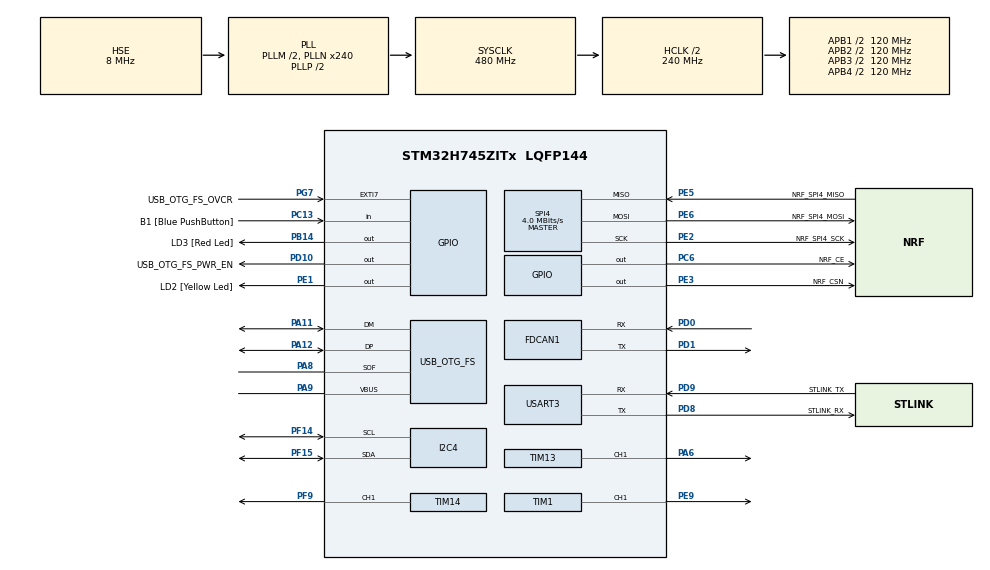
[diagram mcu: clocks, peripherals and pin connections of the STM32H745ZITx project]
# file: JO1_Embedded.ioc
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CortexM4.IPs=FATFS_M4\:I,FREERTOS_M4\:I,IWDG2\:I,RCC,WWDG2\:I,DMA,BDMA,MDMA,NVIC2\:I,USART3,DEBUG,USB_DEVICE_M4\:I,USB_HOST_M4\:I,PDM2PCM_M4\:I,PWR,RESMGR_UTILITY,SYS_M4\:I,CORTEX_M4\:I,OPENAMP_M4\:I,VREFBUF,GPIO,TIM3\:I
CortexM7.IPs=FATFS_M7\:I,FREERTOS_M7\:I,IWDG1\:I,RCC\:I,WWDG1\:I,DMA\:I,BDMA\:I,MDMA\:I,NVIC1\:I,SYS\:I,USART3\:I,USB_OTG_FS\:I,CORTEX_M7\:I,DEBUG\:I,USB_DEVICE_M7\:I,USB_HOST_M7\:I,PDM2PCM_M7\:I,PWR\:I,RESMGR_UTILITY\:I,OPENAMP_M7\:I,VREFBUF\:I,GPIO\:I,SPI4\:I,I2C4\:I,TIM13\:I,TIM14\:I,TIM1\:I,TIM2\:I,FDCAN1\:I
CortexM7.Pins=PE3,PC6
FDCAN1.CalculateBaudRateNominal=500000
FDCAN1.CalculateTimeBitNominal=2000
FDCAN1.CalculateTimeQuantumNominal=50.0
FDCAN1.NominalPrescaler=2
FDCAN1.NominalSyncJumpWidth=8
FDCAN1.NominalTimeSeg1=0x1F
FDCAN1.NominalTimeSeg2=8
FDCAN1.ProtocolException=ENABLE
FDCAN1.RxFifo0ElmtsNbr=1
FDCAN1.StdFiltersNbr=1
FDCAN1.TxFifoQueueElmtsNbr=1
FREERTOS_M4.Tasks01=defaultTask,24,128,StartDefaultTask,Default,NULL,Dynamic,NULL,NULL
FREERTOS_M4.configUSE_NEWLIB_REENTRANT=1
FREERTOS_M7.Tasks01=defaultTask,24,128,StartDefaultTask,Default,NULL,Dynamic,NULL,NULL
FREERTOS_M7.configUSE_NEWLIB_REENTRANT=1
I2C4.Timing=0x307075B1
Mcu.Family=STM32H7
Mcu.Name=STM32H745ZITx
Mcu.Package=LQFP144
NVIC1.PriorityGroup=NVIC_PRIORITYGROUP_4
NVIC1.TIM2_IRQn=true\:15\:0\:false\:false\:true\:false\:false\:true\:true
NVIC1.TimeBase=TIM2_IRQn
NVIC1.TimeBaseIP=TIM2
NVIC2.PriorityGroup=NVIC_PRIORITYGROUP_4
NVIC2.TIM3_IRQn=true\:15\:0\:false\:false\:true\:false\:false\:true\:true
NVIC2.TimeBase=TIM3_IRQn
NVIC2.TimeBaseIP=TIM3
PA11.Mode=Device_Only
PA11.PinAttribute=CortexM7
PA11.Signal=USB_OTG_FS_DM
PA12.Mode=Device_Only
PA12.PinAttribute=CortexM7
PA12.Signal=USB_OTG_FS_DP
PA6.PinAttribute=CortexM7
PA6.Signal=S_TIM13_CH1
PA8.Mode=Activate_SOF_FS
PA8.PinAttribute=CortexM7
PA8.Signal=USB_OTG_FS_SOF
PA9.Mode=Activate_VBUS
PA9.PinAttribute=CortexM7
PA9.Signal=USB_OTG_FS_VBUS
PB14.GPIO_Label=LD3 [Red Led]
PB14.PinAttribute=Free
PB14.Signal=GPIO_Output
PC13.GPIO_Label=B1 [Blue PushButton]
PC13.PinAttribute=Free
PC13.Signal=GPIO_Input
PC14-OSC32_IN\ (OSC32_IN).Mode=LSE-External-Oscillator
PC14-OSC32_IN\ (OSC32_IN).PinAttribute=CortexM7
PC14-OSC32_IN\ (OSC32_IN).Signal=RCC_OSC32_IN
PC15-OSC32_OUT\ (OSC32_OUT).Mode=LSE-External-Oscillator
PC15-OSC32_OUT\ (OSC32_OUT).PinAttribute=CortexM7
PC15-OSC32_OUT\ (OSC32_OUT).Signal=RCC_OSC32_OUT
PC6.GPIO_Label=NRF_CE
PC6.PinAttribute=CortexM7
PC6.Signal=GPIO_Output
PD0.GPIO_Speed=GPIO_SPEED_FREQ_VERY_HIGH
PD0.Mode=FDCAN_Activate
PD0.PinAttribute=CortexM7
PD0.Signal=FDCAN1_RX
PD1.GPIO_PuPd=GPIO_PULLUP
PD1.GPIO_Speed=GPIO_SPEED_FREQ_VERY_HIGH
PD1.Mode=FDCAN_Activate
PD1.PinAttribute=CortexM7
PD1.Signal=FDCAN1_TX
PD10.GPIO_Label=USB_OTG_FS_PWR_EN
PD10.PinAttribute=Free
PD10.Signal=GPIO_Output
PD8.GPIO_Label=STLINK_RX
PD8.Mode=Asynchronous
PD8.PinAttribute=CortexM7
PD8.Signal=USART3_TX
PD9.GPIO_Label=STLINK_TX
PD9.Mode=Asynchronous
PD9.PinAttribute=CortexM7
PD9.Signal=USART3_RX
PE1.GPIO_Label=LD2 [Yellow Led]
PE1.PinAttribute=Free
PE1.Signal=GPIO_Output
PE2.GPIO_Label=NRF_SPI4_SCK
PE2.Mode=Full_Duplex_Master
PE2.PinAttribute=CortexM7
PE2.Signal=SPI4_SCK
PE3.GPIO_Label=NRF_CSN
PE3.PinAttribute=CortexM7
PE3.Signal=GPIO_Output
PE5.GPIO_Label=NRF_SPI4_MISO
PE5.Mode=Full_Duplex_Master
PE5.PinAttribute=CortexM7
PE5.Signal=SPI4_MISO
PE6.GPIO_Label=NRF_SPI4_MOSI
PE6.Mode=Full_Duplex_Master
PE6.PinAttribute=CortexM7
PE6.Signal=SPI4_MOSI
PE9.PinAttribute=CortexM7
PE9.Signal=S_TIM1_CH1
PF14.Mode=I2C
PF14.PinAttribute=CortexM7
PF14.Signal=I2C4_SCL
PF15.Mode=I2C
PF15.PinAttribute=CortexM7
PF15.Signal=I2C4_SDA
PF9.PinAttribute=CortexM7
PF9.Signal=S_TIM14_CH1
PG7.GPIO_Label=USB_OTG_FS_OVCR
PG7.PinAttribute=Free
PG7.Signal=GPXTI7
PH0-OSC_IN\ (PH0).Mode=HSE-External-Clock-Source
PH0-OSC_IN\ (PH0).PinAttribute=CortexM7
PH0-OSC_IN\ (PH0).Signal=RCC_OSC_IN
PH1-OSC_OUT\ (PH1).PinAttribute=CortexM7
PH1-OSC_OUT\ (PH1).Signal=RCC_OSC_OUT
ProjectManager.HeapSize=M4-0x200,M7-0x200
ProjectManager.StackSize=M4-0x400,M7-0x400
ProjectManager.TargetToolchain=STM32CubeIDE
RCC.ADCFreq_Value=9000000
RCC.APB1Freq_Value=120000000
RCC.APB2Freq_Value=120000000
RCC.APB3Freq_Value=120000000
RCC.APB4Freq_Value=120000000
RCC.CortexFreq_Value=480000000
RCC.D1PPRE=RCC_APB3_DIV2
RCC.D2PPRE1=RCC_APB1_DIV2
RCC.D2PPRE2=RCC_APB2_DIV2
RCC.D3PPRE=RCC_APB4_DIV2
RCC.DIVM1=2
RCC.DIVM2=4
RCC.DIVN1=240
RCC.DIVN2=9
RCC.DIVQ1=24
RCC.HCLKFreq_Value=240000000
RCC.HPRE=RCC_HCLK_DIV2
RCC.HSE_VALUE=8000000
RCC.PLL2FRACN=0
RCC.PLL3FRACN=0
RCC.PLLFRACN=0
RCC.SYSCLKFreq_VALUE=480000000
RCC.SYSCLKSource=RCC_SYSCLKSOURCE_PLLCLK
RCC.Spi45ClockSelection=RCC_SPI45CLKSOURCE_HSI
RCC.SupplySource=PWR_DIRECT_SMPS_SUPPLY
RCC.USBFreq_Value=40000000
SH.S_TIM13_CH1.0=TIM13_CH1,PWM Generation1 CH1
SH.S_TIM14_CH1.0=TIM14_CH1,PWM Generation1 CH1
SH.S_TIM1_CH1.0=TIM1_CH1,PWM Generation1 CH1
SPI4.BaudRatePrescaler=SPI_BAUDRATEPRESCALER_16
SPI4.CalculateBaudRate=4.0 MBits/s
SPI4.DataSize=SPI_DATASIZE_8BIT
SPI4.Direction=SPI_DIRECTION_2LINES
SPI4.Mode=SPI_MODE_MASTER
SPI4.VirtualType=VM_MASTER
TIM1.Channel-PWM\ Generation1\ CH1=TIM_CHANNEL_1
TIM1.Period=1000
TIM1.Pulse-PWM\ Generation1\ CH1=500
TIM13.Channel=TIM_CHANNEL_1
TIM13.Period=63999
TIM13.Prescaler=75
TIM14.Channel=TIM_CHANNEL_1
TIM14.Period=63999
TIM14.Prescaler=75
USART3.VirtualMode-Asynchronous=VM_ASYNC
USB_OTG_FS.VirtualMode=Device_Only
VP_FREERTOS_M4_VS_CMSIS_V2.Mode=CMSIS_V2
VP_FREERTOS_M7_VS_CMSIS_V2.Mode=CMSIS_V2
VP_SYS_M4_VS_tim3.Mode=TIM3
VP_SYS_VS_tim2.Mode=TIM2
VP_TIM13_VS_ClockSourceINT.Mode=Enable_Timer
VP_TIM14_VS_ClockSourceINT.Mode=Enable_Timer
VP_TIM1_VS_ClockSourceINT.Mode=Internal
board=NUCLEO-H745ZI-Q

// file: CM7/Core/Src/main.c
/* USER CODE BEGIN Header */
/**
  ******************************************************************************
  * @file           : main.c
  * @brief          : Main program body
  ******************************************************************************
  * @attention
  *
  * Copyright (c) 2024 STMicroelectronics.
  * All rights reserved.
  *
  * This software is licensed under terms that can be found in the LICENSE file
  * in the root directory of this software component.
  * If no LICENSE file comes with this software, it is provided AS-IS.
  *
  ******************************************************************************
  */
/* USER CODE END Header */
#include "main.h"
#include "cmsis_os.h"

/* USER CODE BEGIN Includes */

// Wireless communication with John Deere GPS

#include "nRF24.h"

// IMU sensor for angle calculation

#include "imu_mpu6050.h"
#include "gyro_orientation.h"

// CAN for reading encoder from extern MCU

#include "can_routines.h"

// Encoder reading for distance calculation

#include "encoder_driver.h"

// MATLAB Controller

#include "controller/robocar_c.h"

// Tractor steering and movement

#include "servo_driver.h"
#include "motor_driver.h"

// Buzzer for waypoint alert

#include "buzzer_sound.h"

// USART interface

#include "uart_printf.h"

/* USER CODE END Includes */

/* USER CODE BEGIN PTD */

typedef struct {
	uint16_t x;
	uint16_t y;
} waypoint_t;

/* USER CODE END PTD */

/* USER CODE BEGIN PD */

#define SPEED_INCREASE_RATE	10

/* Internal Navigation Mode */

#define LINEAR_VELOCITY		7.0f
#define LOOKAHEAD_DISTANCE	1.0f
#define INPUT_MIN			-1.0f
#define INPUT_MAX			1.0f
#define OUTPUT_MIN			-90.0f
#define OUTPUT_MAX			90.0f

/* External Navigation Mode */

#define DISTANCE_TOLERANCE	10.0f
#define DELAY_FACTOR 		100.0f
#define SPEED				0.5f
#define STOP_TIME			3000

#ifndef HSEM_ID_0
#define HSEM_ID_0 (0U) /* HW semaphore 0*/
#endif

/* USER CODE END PD */

FDCAN_HandleTypeDef hfdcan1;

I2C_HandleTypeDef hi2c4;

SPI_HandleTypeDef hspi4;

TIM_HandleTypeDef htim1;
TIM_HandleTypeDef htim13;
TIM_HandleTypeDef htim14;

UART_HandleTypeDef huart3;

PCD_HandleTypeDef hpcd_USB_OTG_FS;

/* Definitions for defaultTask */
osThreadId_t defaultTaskHandle;
const osThreadAttr_t defaultTask_attributes = {
  .name = "defaultTask",
  .stack_size = 128 * 4,
  .priority = (osPriority_t) osPriorityNormal,
};
/* USER CODE BEGIN PV */

/* Internal Navigation Mode */

imu_data_t imu_data;
gyro_orient_state_t orient_state;
float yaw;

FDCAN_FilterTypeDef sFilterConfig;
FDCAN_RxHeaderTypeDef rx_header;

can_status_t status;
uint16_t encoder_value;
float encoder_distance;

real_T state[3];
float mapped_angle;

/* External Navigation Mode */

vehicle_coordinates_t coordinates;
waypoint_t destination = {0, 60};
float distance;
uint32_t delay_time;

/* USER CODE END PV */

void SystemClock_Config(void);
static void MX_GPIO_Init(void);
static void MX_USART3_UART_Init(void);
static void MX_USB_OTG_FS_PCD_Init(void);
static void MX_SPI4_Init(void);
static void MX_I2C4_Init(void);
static void MX_TIM13_Init(void);
static void MX_TIM14_Init(void);
static void MX_TIM1_Init(void);
static void MX_FDCAN1_Init(void);
void StartDefaultTask(void *argument);

int main(void)
{
/* USER CODE BEGIN Boot_Mode_Sequence_0 */
  int32_t timeout;
/* USER CODE END Boot_Mode_Sequence_0 */

/* USER CODE BEGIN Boot_Mode_Sequence_1 */
  /* Wait until CPU2 boots and enters in stop mode or timeout*/
  timeout = 0xFFFF;
  while((__HAL_RCC_GET_FLAG(RCC_FLAG_D2CKRDY) != RESET) && (timeout-- > 0));
  if ( timeout < 0 )
  {
  Error_Handler();
  }
/* USER CODE END Boot_Mode_Sequence_1 */
  /* MCU Configuration--------------------------------------------------------*/

  /* Reset of all peripherals, Initializes the Flash interface and the Systick. */
  HAL_Init();

  /* Configure the system clock */
  SystemClock_Config();
/* USER CODE BEGIN Boot_Mode_Sequence_2 */
/* When system initialization is finished, Cortex-M7 will release Cortex-M4 by means of
HSEM notification */
/*HW semaphore Clock enable*/
__HAL_RCC_HSEM_CLK_ENABLE();
/*Take HSEM */
HAL_HSEM_FastTake(HSEM_ID_0);
/*Release HSEM in order to notify the CPU2(CM4)*/
HAL_HSEM_Release(HSEM_ID_0,0);
/* wait until CPU2 wakes up from stop mode */
timeout = 0xFFFF;
while((__HAL_RCC_GET_FLAG(RCC_FLAG_D2CKRDY) == RESET) && (timeout-- > 0));
if ( timeout < 0 )
{
Error_Handler();
}
/* USER CODE END Boot_Mode_Sequence_2 */

  /* Initialize all configured peripherals */
  MX_GPIO_Init();
  MX_USART3_UART_Init();
  MX_USB_OTG_FS_PCD_Init();
  MX_SPI4_Init();
  MX_I2C4_Init();
  MX_TIM13_Init();
  MX_TIM14_Init();
  MX_TIM1_Init();
  MX_FDCAN1_Init();

  /* Init scheduler */
  osKernelInitialize();

  /* Create the thread(s) */
  /* creation of defaultTask */
  defaultTaskHandle = osThreadNew(StartDefaultTask, NULL, &defaultTask_attributes);

  /* Start scheduler */
  osKernelStart();

  /* We should never get here as control is now taken by the scheduler */
  /* Infinite loop */
  while (1)
  {

  }
}

void SystemClock_Config(void)
{
  RCC_OscInitTypeDef RCC_OscInitStruct = {0};
  RCC_ClkInitTypeDef RCC_ClkInitStruct = {0};

  /** Supply configuration update enable
  */
  HAL_PWREx_ConfigSupply(PWR_DIRECT_SMPS_SUPPLY);

  /** Configure the main internal regulator output voltage
  */
  __HAL_PWR_VOLTAGESCALING_CONFIG(PWR_REGULATOR_VOLTAGE_SCALE0);

  while(!__HAL_PWR_GET_FLAG(PWR_FLAG_VOSRDY)) {}

  /** Initializes the RCC Oscillators according to the specified parameters
  * in the RCC_OscInitTypeDef structure.
  */
  RCC_OscInitStruct.OscillatorType = RCC_OSCILLATORTYPE_HSI|RCC_OSCILLATORTYPE_HSE;
  RCC_OscInitStruct.HSEState = RCC_HSE_BYPASS;
  RCC_OscInitStruct.HSIState = RCC_HSI_DIV1;
  RCC_OscInitStruct.HSICalibrationValue = RCC_HSICALIBRATION_DEFAULT;
  RCC_OscInitStruct.PLL.PLLState = RCC_PLL_ON;
  RCC_OscInitStruct.PLL.PLLSource = RCC_PLLSOURCE_HSE;
  RCC_OscInitStruct.PLL.PLLM = 2;
  RCC_OscInitStruct.PLL.PLLN = 240;
  RCC_OscInitStruct.PLL.PLLP = 2;
  RCC_OscInitStruct.PLL.PLLQ = 24;
  RCC_OscInitStruct.PLL.PLLR = 2;
  RCC_OscInitStruct.PLL.PLLRGE = RCC_PLL1VCIRANGE_2;
  RCC_OscInitStruct.PLL.PLLVCOSEL = RCC_PLL1VCOWIDE;
  RCC_OscInitStruct.PLL.PLLFRACN = 0;
  if (HAL_RCC_OscConfig(&RCC_OscInitStruct) != HAL_OK)
  {
    Error_Handler();
  }

  /** Initializes the CPU, AHB and APB buses clocks
  */
  RCC_ClkInitStruct.ClockType = RCC_CLOCKTYPE_HCLK|RCC_CLOCKTYPE_SYSCLK
                              |RCC_CLOCKTYPE_PCLK1|RCC_CLOCKTYPE_PCLK2
                              |RCC_CLOCKTYPE_D3PCLK1|RCC_CLOCKTYPE_D1PCLK1;
  RCC_ClkInitStruct.SYSCLKSource = RCC_SYSCLKSOURCE_PLLCLK;
  RCC_ClkInitStruct.SYSCLKDivider = RCC_SYSCLK_DIV1;
  RCC_ClkInitStruct.AHBCLKDivider = RCC_HCLK_DIV2;
  RCC_ClkInitStruct.APB3CLKDivider = RCC_APB3_DIV2;
  RCC_ClkInitStruct.APB1CLKDivider = RCC_APB1_DIV2;
  RCC_ClkInitStruct.APB2CLKDivider = RCC_APB2_DIV2;
  RCC_ClkInitStruct.APB4CLKDivider = RCC_APB4_DIV2;

  if (HAL_RCC_ClockConfig(&RCC_ClkInitStruct, FLASH_LATENCY_4) != HAL_OK)
  {
    Error_Handler();
  }
}

static void MX_FDCAN1_Init(void)
{

  hfdcan1.Instance = FDCAN1;
  hfdcan1.Init.FrameFormat = FDCAN_FRAME_CLASSIC;
  hfdcan1.Init.Mode = FDCAN_MODE_NORMAL;
  hfdcan1.Init.AutoRetransmission = DISABLE;
  hfdcan1.Init.TransmitPause = DISABLE;
  hfdcan1.Init.ProtocolException = ENABLE;
  hfdcan1.Init.NominalPrescaler = 2;
  hfdcan1.Init.NominalSyncJumpWidth = 8;
  hfdcan1.Init.NominalTimeSeg1 = 0x1F;
  hfdcan1.Init.NominalTimeSeg2 = 8;
  hfdcan1.Init.DataPrescaler = 1;
  hfdcan1.Init.DataSyncJumpWidth = 1;
  hfdcan1.Init.DataTimeSeg1 = 1;
  hfdcan1.Init.DataTimeSeg2 = 1;
  hfdcan1.Init.MessageRAMOffset = 0;
  hfdcan1.Init.StdFiltersNbr = 1;
  hfdcan1.Init.ExtFiltersNbr = 0;
  hfdcan1.Init.RxFifo0ElmtsNbr = 1;
  hfdcan1.Init.RxFifo0ElmtSize = FDCAN_DATA_BYTES_8;
  hfdcan1.Init.RxFifo1ElmtsNbr = 0;
  hfdcan1.Init.RxFifo1ElmtSize = FDCAN_DATA_BYTES_8;
  hfdcan1.Init.RxBuffersNbr = 0;
  hfdcan1.Init.RxBufferSize = FDCAN_DATA_BYTES_8;
  hfdcan1.Init.TxEventsNbr = 0;
  hfdcan1.Init.TxBuffersNbr = 0;
  hfdcan1.Init.TxFifoQueueElmtsNbr = 1;
  hfdcan1.Init.TxFifoQueueMode = FDCAN_TX_FIFO_OPERATION;
  hfdcan1.Init.TxElmtSize = FDCAN_DATA_BYTES_8;
  if (HAL_FDCAN_Init(&hfdcan1) != HAL_OK)
  {
    Error_Handler();
  }
  /* USER CODE BEGIN FDCAN1_Init 2 */

  // Configure Rx filter

  sFilterConfig.IdType = FDCAN_STANDARD_ID;
  sFilterConfig.FilterIndex = 0;
  sFilterConfig.FilterType = FDCAN_FILTER_MASK;
  sFilterConfig.FilterConfig = FDCAN_FILTER_TO_RXFIFO0;
  sFilterConfig.FilterID1 = 0x000;
  sFilterConfig.FilterID2 = 0x000;

  // Configure global filter to reject all non-matching frames

  HAL_FDCAN_ConfigGlobalFilter(&hfdcan1, FDCAN_REJECT, FDCAN_REJECT, FDCAN_REJECT_REMOTE, FDCAN_REJECT_REMOTE);

  if (HAL_FDCAN_ConfigFilter(&hfdcan1, &sFilterConfig) != HAL_OK)
  {
	  Error_Handler();
  }

  // Start the FDCAN

  if (HAL_FDCAN_Start(&hfdcan1) != HAL_OK) {}

  if (HAL_FDCAN_ActivateNotification(&hfdcan1, FDCAN_IT_RX_FIFO0_NEW_MESSAGE, 0) != HAL_OK) {}

  printf("CAN BUS ACTIVATED\r\n");

  /* USER CODE END FDCAN1_Init 2 */

}

static void MX_I2C4_Init(void)
{

  hi2c4.Instance = I2C4;
  hi2c4.Init.Timing = 0x307075B1;
  hi2c4.Init.OwnAddress1 = 0;
  hi2c4.Init.AddressingMode = I2C_ADDRESSINGMODE_7BIT;
  hi2c4.Init.DualAddressMode = I2C_DUALADDRESS_DISABLE;
  hi2c4.Init.OwnAddress2 = 0;
  hi2c4.Init.OwnAddress2Masks = I2C_OA2_NOMASK;
  hi2c4.Init.GeneralCallMode = I2C_GENERALCALL_DISABLE;
  hi2c4.Init.NoStretchMode = I2C_NOSTRETCH_DISABLE;
  if (HAL_I2C_Init(&hi2c4) != HAL_OK)
  {
    Error_Handler();
  }

  /** Configure Analogue filter
  */
  if (HAL_I2CEx_ConfigAnalogFilter(&hi2c4, I2C_ANALOGFILTER_ENABLE) != HAL_OK)
  {
    Error_Handler();
  }

  /** Configure Digital filter
  */
  if (HAL_I2CEx_ConfigDigitalFilter(&hi2c4, 0) != HAL_OK)
  {
    Error_Handler();
  }

}

static void MX_SPI4_Init(void)
{

  /* SPI4 parameter configuration*/
  hspi4.Instance = SPI4;
  hspi4.Init.Mode = SPI_MODE_MASTER;
  hspi4.Init.Direction = SPI_DIRECTION_2LINES;
  hspi4.Init.DataSize = SPI_DATASIZE_8BIT;
  hspi4.Init.CLKPolarity = SPI_POLARITY_LOW;
  hspi4.Init.CLKPhase = SPI_PHASE_1EDGE;
  hspi4.Init.NSS = SPI_NSS_SOFT;
  hspi4.Init.BaudRatePrescaler = SPI_BAUDRATEPRESCALER_16;
  hspi4.Init.FirstBit = SPI_FIRSTBIT_MSB;
  hspi4.Init.TIMode = SPI_TIMODE_DISABLE;
  hspi4.Init.CRCCalculation = SPI_CRCCALCULATION_DISABLE;
  hspi4.Init.CRCPolynomial = 0x0;
  hspi4.Init.NSSPMode = SPI_NSS_PULSE_ENABLE;
  hspi4.Init.NSSPolarity = SPI_NSS_POLARITY_LOW;
  hspi4.Init.FifoThreshold = SPI_FIFO_THRESHOLD_01DATA;
  hspi4.Init.TxCRCInitializationPattern = SPI_CRC_INITIALIZATION_ALL_ZERO_PATTERN;
  hspi4.Init.RxCRCInitializationPattern = SPI_CRC_INITIALIZATION_ALL_ZERO_PATTERN;
  hspi4.Init.MasterSSIdleness = SPI_MASTER_SS_IDLENESS_00CYCLE;
  hspi4.Init.MasterInterDataIdleness = SPI_MASTER_INTERDATA_IDLENESS_00CYCLE;
  hspi4.Init.MasterReceiverAutoSusp = SPI_MASTER_RX_AUTOSUSP_DISABLE;
  hspi4.Init.MasterKeepIOState = SPI_MASTER_KEEP_IO_STATE_DISABLE;
  hspi4.Init.IOSwap = SPI_IO_SWAP_DISABLE;
  if (HAL_SPI_Init(&hspi4) != HAL_OK)
  {
    Error_Handler();
  }

}

static void MX_TIM1_Init(void)
{

  TIM_ClockConfigTypeDef sClockSourceConfig = {0};
  TIM_MasterConfigTypeDef sMasterConfig = {0};
  TIM_OC_InitTypeDef sConfigOC = {0};
  TIM_BreakDeadTimeConfigTypeDef sBreakDeadTimeConfig = {0};

  htim1.Instance = TIM1;
  htim1.Init.Prescaler = 0;
  htim1.Init.CounterMode = TIM_COUNTERMODE_UP;
  htim1.Init.Period = 1000;
  htim1.Init.ClockDivision = TIM_CLOCKDIVISION_DIV1;
  htim1.Init.RepetitionCounter = 0;
  htim1.Init.AutoReloadPreload = TIM_AUTORELOAD_PRELOAD_DISABLE;
  if (HAL_TIM_Base_Init(&htim1) != HAL_OK)
  {
    Error_Handler();
  }
  sClockSourceConfig.ClockSource = TIM_CLOCKSOURCE_INTERNAL;
  if (HAL_TIM_ConfigClockSource(&htim1, &sClockSourceConfig) != HAL_OK)
  {
    Error_Handler();
  }
  if (HAL_TIM_PWM_Init(&htim1) != HAL_OK)
  {
    Error_Handler();
  }
  sMasterConfig.MasterOutputTrigger = TIM_TRGO_RESET;
  sMasterConfig.MasterOutputTrigger2 = TIM_TRGO2_RESET;
  sMasterConfig.MasterSlaveMode = TIM_MASTERSLAVEMODE_DISABLE;
  if (HAL_TIMEx_MasterConfigSynchronization(&htim1, &sMasterConfig) != HAL_OK)
  {
    Error_Handler();
  }
  sConfigOC.OCMode = TIM_OCMODE_PWM1;
  sConfigOC.Pulse = 500;
  sConfigOC.OCPolarity = TIM_OCPOLARITY_HIGH;
  sConfigOC.OCNPolarity = TIM_OCNPOLARITY_HIGH;
  sConfigOC.OCFastMode = TIM_OCFAST_DISABLE;
  sConfigOC.OCIdleState = TIM_OCIDLESTATE_RESET;
  sConfigOC.OCNIdleState = TIM_OCNIDLESTATE_RESET;
  if (HAL_TIM_PWM_ConfigChannel(&htim1, &sConfigOC, TIM_CHANNEL_1) != HAL_OK)
  {
    Error_Handler();
  }
  sBreakDeadTimeConfig.OffStateRunMode = TIM_OSSR_DISABLE;
  sBreakDeadTimeConfig.OffStateIDLEMode = TIM_OSSI_DISABLE;
  sBreakDeadTimeConfig.LockLevel = TIM_LOCKLEVEL_OFF;
  sBreakDeadTimeConfig.DeadTime = 0;
  sBreakDeadTimeConfig.BreakState = TIM_BREAK_DISABLE;
  sBreakDeadTimeConfig.BreakPolarity = TIM_BREAKPOLARITY_HIGH;
  sBreakDeadTimeConfig.BreakFilter = 0;
  sBreakDeadTimeConfig.Break2State = TIM_BREAK2_DISABLE;
  sBreakDeadTimeConfig.Break2Polarity = TIM_BREAK2POLARITY_HIGH;
  sBreakDeadTimeConfig.Break2Filter = 0;
  sBreakDeadTimeConfig.AutomaticOutput = TIM_AUTOMATICOUTPUT_DISABLE;
  if (HAL_TIMEx_ConfigBreakDeadTime(&htim1, &sBreakDeadTimeConfig) != HAL_OK)
  {
    Error_Handler();
  }
  HAL_TIM_MspPostInit(&htim1);

}

static void MX_TIM13_Init(void)
{

  TIM_OC_InitTypeDef sConfigOC = {0};

  htim13.Instance = TIM13;
  htim13.Init.Prescaler = 75;
  htim13.Init.CounterMode = TIM_COUNTERMODE_UP;
  htim13.Init.Period = 63999;
  htim13.Init.ClockDivision = TIM_CLOCKDIVISION_DIV1;
  htim13.Init.AutoReloadPreload = TIM_AUTORELOAD_PRELOAD_DISABLE;
  if (HAL_TIM_Base_Init(&htim13) != HAL_OK)
  {
    Error_Handler();
  }
  if (HAL_TIM_PWM_Init(&htim13) != HAL_OK)
  {
    Error_Handler();
  }
  sConfigOC.OCMode = TIM_OCMODE_PWM1;
  sConfigOC.Pulse = 0;
  sConfigOC.OCPolarity = TIM_OCPOLARITY_HIGH;
  sConfigOC.OCFastMode = TIM_OCFAST_DISABLE;
  if (HAL_TIM_PWM_ConfigChannel(&htim13, &sConfigOC, TIM_CHANNEL_1) != HAL_OK)
  {
    Error_Handler();
  }
  HAL_TIM_MspPostInit(&htim13);

}

static void MX_TIM14_Init(void)
{

  TIM_OC_InitTypeDef sConfigOC = {0};

  htim14.Instance = TIM14;
  htim14.Init.Prescaler = 75;
  htim14.Init.CounterMode = TIM_COUNTERMODE_UP;
  htim14.Init.Period = 63999;
  htim14.Init.ClockDivision = TIM_CLOCKDIVISION_DIV1;
  htim14.Init.AutoReloadPreload = TIM_AUTORELOAD_PRELOAD_DISABLE;
  if (HAL_TIM_Base_Init(&htim14) != HAL_OK)
  {
    Error_Handler();
  }
  if (HAL_TIM_PWM_Init(&htim14) != HAL_OK)
  {
    Error_Handler();
  }
  sConfigOC.OCMode = TIM_OCMODE_PWM1;
  sConfigOC.Pulse = 0;
  sConfigOC.OCPolarity = TIM_OCPOLARITY_HIGH;
  sConfigOC.OCFastMode = TIM_OCFAST_DISABLE;
  if (HAL_TIM_PWM_ConfigChannel(&htim14, &sConfigOC, TIM_CHANNEL_1) != HAL_OK)
  {
    Error_Handler();
  }
  HAL_TIM_MspPostInit(&htim14);

}

static void MX_USART3_UART_Init(void)
{

  huart3.Instance = USART3;
  huart3.Init.BaudRate = 115200;
  huart3.Init.WordLength = UART_WORDLENGTH_8B;
  huart3.Init.StopBits = UART_STOPBITS_1;
  huart3.Init.Parity = UART_PARITY_NONE;
  huart3.Init.Mode = UART_MODE_TX_RX;
  huart3.Init.HwFlowCtl = UART_HWCONTROL_NONE;
  huart3.Init.OverSampling = UART_OVERSAMPLING_16;
  huart3.Init.OneBitSampling = UART_ONE_BIT_SAMPLE_DISABLE;
  huart3.Init.ClockPrescaler = UART_PRESCALER_DIV1;
  huart3.AdvancedInit.AdvFeatureInit = UART_ADVFEATURE_NO_INIT;
  if (HAL_UART_Init(&huart3) != HAL_OK)
  {
    Error_Handler();
  }
  if (HAL_UARTEx_SetTxFifoThreshold(&huart3, UART_TXFIFO_THRESHOLD_1_8) != HAL_OK)
  {
    Error_Handler();
  }
  if (HAL_UARTEx_SetRxFifoThreshold(&huart3, UART_RXFIFO_THRESHOLD_1_8) != HAL_OK)
  {
    Error_Handler();
  }
  if (HAL_UARTEx_DisableFifoMode(&huart3) != HAL_OK)
  {
    Error_Handler();
  }

}

static void MX_USB_OTG_FS_PCD_Init(void)
{

  hpcd_USB_OTG_FS.Instance = USB_OTG_FS;
  hpcd_USB_OTG_FS.Init.dev_endpoints = 9;
  hpcd_USB_OTG_FS.Init.speed = PCD_SPEED_FULL;
  hpcd_USB_OTG_FS.Init.dma_enable = DISABLE;
  hpcd_USB_OTG_FS.Init.phy_itface = PCD_PHY_EMBEDDED;
  hpcd_USB_OTG_FS.Init.Sof_enable = DISABLE;
  hpcd_USB_OTG_FS.Init.low_power_enable = DISABLE;
  hpcd_USB_OTG_FS.Init.lpm_enable = DISABLE;
  hpcd_USB_OTG_FS.Init.battery_charging_enable = ENABLE;
  hpcd_USB_OTG_FS.Init.vbus_sensing_enable = ENABLE;
  hpcd_USB_OTG_FS.Init.use_dedicated_ep1 = DISABLE;
  if (HAL_PCD_Init(&hpcd_USB_OTG_FS) != HAL_OK)
  {
    Error_Handler();
  }

}

static void MX_GPIO_Init(void)
{
  GPIO_InitTypeDef GPIO_InitStruct = {0};

  /* GPIO Ports Clock Enable */
  __HAL_RCC_GPIOE_CLK_ENABLE();
  __HAL_RCC_GPIOC_CLK_ENABLE();
  __HAL_RCC_GPIOF_CLK_ENABLE();
  __HAL_RCC_GPIOH_CLK_ENABLE();
  __HAL_RCC_GPIOA_CLK_ENABLE();
  __HAL_RCC_GPIOD_CLK_ENABLE();

  /*Configure GPIO pin Output Level */
  HAL_GPIO_WritePin(NRF_CSN_GPIO_Port, NRF_CSN_Pin, GPIO_PIN_RESET);

  /*Configure GPIO pin Output Level */
  HAL_GPIO_WritePin(NRF_CE_GPIO_Port, NRF_CE_Pin, GPIO_PIN_RESET);

  /*Configure GPIO pin : NRF_CSN_Pin */
  GPIO_InitStruct.Pin = NRF_CSN_Pin;
  GPIO_InitStruct.Mode = GPIO_MODE_OUTPUT_PP;
  GPIO_InitStruct.Pull = GPIO_NOPULL;
  GPIO_InitStruct.Speed = GPIO_SPEED_FREQ_LOW;
  HAL_GPIO_Init(NRF_CSN_GPIO_Port, &GPIO_InitStruct);

  /*Configure GPIO pin : NRF_CE_Pin */
  GPIO_InitStruct.Pin = NRF_CE_Pin;
  GPIO_InitStruct.Mode = GPIO_MODE_OUTPUT_PP;
  GPIO_InitStruct.Pull = GPIO_NOPULL;
  GPIO_InitStruct.Speed = GPIO_SPEED_FREQ_LOW;
  HAL_GPIO_Init(NRF_CE_GPIO_Port, &GPIO_InitStruct);

}

void StartDefaultTask(void *argument)
{
  /* USER CODE BEGIN 5 */

	// Initialize the servo to start with a 0-degree angle

	servo_set_angle(0.0);

	/*
	 * Select only one navigation mode by commenting and uncommenting
	 * the necessary code snippets.
	 */

	/* Internal Navigation Mode */

	// Initialize the IMU for sensor-based orientation

	imu_setup_routine(&hi2c4);
	gyro_orient_init(&orient_state);

	// Set desired linear velocity (this is the target speed for the vehicle)

	rtU.Input1 = LINEAR_VELOCITY;

	// Set desired lookahead distance for the pure pursuit algorithm (defines how far ahead the vehicle looks)

	rtU.Input2 = LOOKAHEAD_DISTANCE;

	// Move until desired linear velocity is reached by gradually increasing motor speed

	for (float i = 0; i < LINEAR_VELOCITY; i += 0.1)
	{
		motor_set_speed(i);
		osDelay(SPEED_INCREASE_RATE);
	}

	// Initialize pure pursuit algorithm to guide the vehicle towards a target

	robocar_c_initialize();

	/* External Navigation Mode */

	// Setup the external sensor for GPS

	// nrf24_setup_routine(&hspi4, &huart3);

  /* Infinite loop */

  for(;;)
  {
	  // Step for pure pursuit: Perform a step in the pure pursuit algorithm to calculate the next control actions

	robocar_c_step();

	// Steer the vehicle based on the output of the pure pursuit algorithm

	mapped_angle = (rtY.Out2 - INPUT_MIN) * (OUTPUT_MAX - OUTPUT_MIN) / (INPUT_MAX - INPUT_MIN) + OUTPUT_MIN;

	servo_set_angle(mapped_angle);

	// Read IMU data and calculate yaw (orientation angle of the vehicle)

	imu_data = imu_read_processed_data(&hi2c4);
	yaw = gyro_orient_update(&orient_state, &imu_data, HAL_GetTick());

	// Read encoder data to calculate the distance traveled by the vehicle

	status = can_receive_encoder(&hfdcan1, &rx_header, &encoder_value);

	if (status == CAN_STATUS_OK) {
		encoder_distance = encoder_calculate_distance(encoder_value);
	}

	// Actualize the current state of the vehicle (position and orientation)
	// Convert encoder distance and yaw to Cartesian coordinates (x, y) and update the vehicle's state

	state[0] = encoder_distance * cos(yaw * (M_PI / 180.0));
	state[1] = encoder_distance * sin(yaw * (M_PI / 180.0));
	state[2] = yaw * (M_PI / 180.0);

	// Update the input states for the pure pursuit algorithm (x, y, yaw)

	rtU.Input[0] = state[0];
	rtU.Input[1] = state[1];
	rtU.Input[2] = state[2];

	/* DEBUG INFO: Output the current state for debugging and monitoring */

	printf("[%f, %f, %f]\n\r",
			state[0],
			state[1],
			state[2]
	);

	osDelay(50);

	/* External Navigation Mode */

	/*

	servo_set_angle(0.0);

	// Get the current GPS coordinates (if available)

	coordinates = nrf24_read_gps();

	if (coordinates.x != 0 && coordinates.y != 0)
	{
		// Calculate the Euclidean distance to the destination waypoint

		distance = sqrtf(powf(destination.x - coordinates.x, 2) + powf(destination.y - coordinates.y, 2));

		// If the vehicle is within the tolerance distance from the destination
		// stop and play an alert sound

		if (distance <= DISTANCE_TOLERANCE)
		{
			motor_set_speed(0.0);
			play_melody(melody_tones, melody_durations, melody_pauses, melody_size);
			break;
		}

		// Calculate a delay time proportional to the remaining distance to the destination
		// This controls how long the vehicle should maintain the current speed before updating

		delay_time = (uint32_t)(distance / DELAY_FACTOR);

		// Gradually increase speed until a certain maximum speed is reached

		for(float i = 0.0; i < SPEED; i += 0.01)
		{
			motor_set_speed(i);
			osDelay(SPEED_INCREASE_RATE);
		}

		// Maintain the current speed for the calculated delay time

		osDelay(delay_time);

		// Stop the vehicle for a short period (e.g., to wait before the next operation)

		motor_set_speed(0.0);
		osDelay(STOP_TIME);
	} */
  }
  /* USER CODE END 5 */
}

void HAL_TIM_PeriodElapsedCallback(TIM_HandleTypeDef *htim)
{
  if (htim->Instance == TIM2) {
    HAL_IncTick();
  }
}

void Error_Handler(void)
{
  __disable_irq();
  while (1)
  {
  }
}
